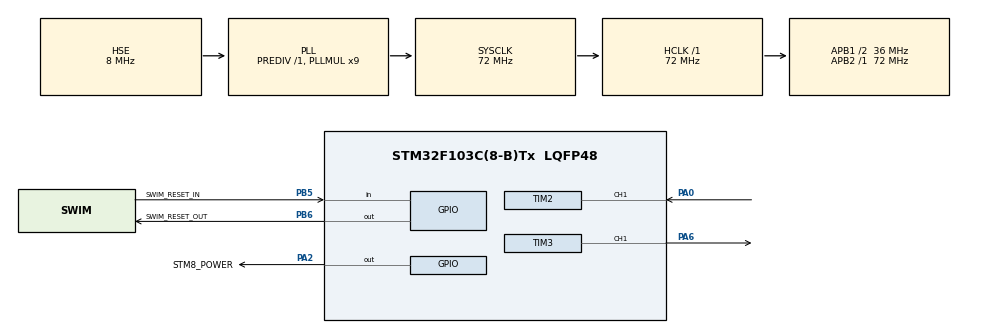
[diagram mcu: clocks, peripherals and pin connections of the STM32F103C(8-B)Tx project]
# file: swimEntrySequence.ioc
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Dma.Request0=TIM2_CH1
Dma.Request1=TIM2_CH2/CH4
Dma.Request2=TIM3_CH1/TRIG
Dma.TIM2_CH1.0.Direction=DMA_PERIPH_TO_MEMORY
Dma.TIM2_CH1.0.Instance=DMA1_Channel5
Dma.TIM2_CH1.0.MemDataAlignment=DMA_MDATAALIGN_WORD
Dma.TIM2_CH1.0.MemInc=DMA_MINC_ENABLE
Dma.TIM2_CH1.0.Mode=DMA_NORMAL
Dma.TIM2_CH1.0.PeriphDataAlignment=DMA_PDATAALIGN_HALFWORD
Dma.TIM2_CH1.0.PeriphInc=DMA_PINC_DISABLE
Dma.TIM2_CH1.0.Priority=DMA_PRIORITY_HIGH
Dma.TIM2_CH2/CH4.1.Direction=DMA_PERIPH_TO_MEMORY
Dma.TIM2_CH2/CH4.1.Instance=DMA1_Channel7
Dma.TIM2_CH2/CH4.1.MemDataAlignment=DMA_MDATAALIGN_WORD
Dma.TIM2_CH2/CH4.1.MemInc=DMA_MINC_ENABLE
Dma.TIM2_CH2/CH4.1.Mode=DMA_NORMAL
Dma.TIM2_CH2/CH4.1.PeriphDataAlignment=DMA_PDATAALIGN_HALFWORD
Dma.TIM2_CH2/CH4.1.PeriphInc=DMA_PINC_DISABLE
Dma.TIM2_CH2/CH4.1.Priority=DMA_PRIORITY_HIGH
Dma.TIM3_CH1/TRIG.2.Direction=DMA_MEMORY_TO_PERIPH
Dma.TIM3_CH1/TRIG.2.Instance=DMA1_Channel6
Dma.TIM3_CH1/TRIG.2.MemDataAlignment=DMA_MDATAALIGN_WORD
Dma.TIM3_CH1/TRIG.2.MemInc=DMA_MINC_ENABLE
Dma.TIM3_CH1/TRIG.2.Mode=DMA_NORMAL
Dma.TIM3_CH1/TRIG.2.PeriphDataAlignment=DMA_PDATAALIGN_HALFWORD
Dma.TIM3_CH1/TRIG.2.PeriphInc=DMA_PINC_DISABLE
Dma.TIM3_CH1/TRIG.2.Priority=DMA_PRIORITY_HIGH
Mcu.Family=STM32F1
Mcu.Name=STM32F103C(8-B)Tx
Mcu.Package=LQFP48
Mcu.UserConstants=longPeriod,0xFFFF;timeUp_period,65000-1
NVIC.DMA1_Channel5_IRQn=true\:0\:0\:false\:false\:true
NVIC.DMA1_Channel6_IRQn=true\:0\:0\:false\:false\:true
NVIC.DMA1_Channel7_IRQn=true\:0\:0\:false\:false\:true
NVIC.PriorityGroup=NVIC_PRIORITYGROUP_4
NVIC.TIM1_UP_IRQn=true\:0\:0\:false\:false\:true
PA0-WKUP.Signal=S_TIM2_CH1_ETR
PA13.Mode=Serial_Wire
PA13.Signal=SYS_JTMS-SWDIO
PA14.Mode=Serial_Wire
PA14.Signal=SYS_JTCK-SWCLK
PA2.GPIO_Label=STM8_POWER
PA2.GPIO_Speed=GPIO_SPEED_FREQ_HIGH
PA2.PinState=GPIO_PIN_RESET
PA2.Signal=GPIO_Output
PA6.GPIO_ModeDefaultPP=GPIO_MODE_AF_OD
PA6.GPIO_Speed=GPIO_SPEED_FREQ_HIGH
PA6.Signal=S_TIM3_CH1
PB5.GPIO_Label=SWIM_RESET_IN
PB5.Signal=GPIO_Input
PB6.GPIO_Label=SWIM_RESET_OUT
PB6.GPIO_Speed=GPIO_SPEED_FREQ_HIGH
PB6.PinState=GPIO_PIN_SET
PB6.Signal=GPIO_Output
PD0-OSC_IN.Mode=HSE-External-Oscillator
PD0-OSC_IN.Signal=RCC_OSC_IN
PD1-OSC_OUT.Mode=HSE-External-Oscillator
PD1-OSC_OUT.Signal=RCC_OSC_OUT
ProjectManager.HeapSize=0x200
ProjectManager.StackSize=0x400
ProjectManager.TargetToolchain=SW4STM32
RCC.AHBFreq_Value=72000000
RCC.APB1CLKDivider=RCC_HCLK_DIV2
RCC.APB1Freq_Value=36000000
RCC.APB1TimFreq_Value=72000000
RCC.APB2Freq_Value=72000000
RCC.APB2TimFreq_Value=72000000
RCC.HCLKFreq_Value=72000000
RCC.PLLMUL=RCC_PLL_MUL9
RCC.PLLSourceVirtual=RCC_PLLSOURCE_HSE
RCC.SYSCLKFreq_VALUE=72000000
RCC.SYSCLKSource=RCC_SYSCLKSOURCE_PLLCLK
RCC.USBFreq_Value=72000000
SH.S_TIM2_CH1_ETR.0=TIM2_CH1,TriggerSource_TI1FP1
SH.S_TIM2_CH1_ETR.1=TIM2_CH1,Input_Capture1_from_TI1
SH.S_TIM2_CH1_ETR.2=TIM2_CH1,Input_Capture2_from_TI1
SH.S_TIM3_CH1.0=TIM3_CH1,Output Compare1 CH1
TIM1.Period=timeUp_period
TIM1.Prescaler=10
TIM2.Channel-Input_Capture1_from_TI1=TIM_CHANNEL_1
TIM2.Channel-Input_Capture2_from_TI1=TIM_CHANNEL_2
TIM2.ICPolarity_CH1=TIM_INPUTCHANNELPOLARITY_FALLING
TIM2.Period=longPeriod
TIM3.Channel-Output\ Compare1\ CH1=TIM_CHANNEL_1
TIM3.OCMode_1=TIM_OCMODE_TOGGLE
TIM3.OCPolarity_1=TIM_OCPOLARITY_LOW
TIM3.TIM_MasterOutputTrigger=TIM_TRGO_OC1
VP_TIM1_VS_ClockSourceINT.Mode=Internal
VP_TIM2_VS_ControllerModeReset.Mode=Reset Mode
board=swimEntrySequence

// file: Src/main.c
/**
  ******************************************************************************
  * File Name          : main.c
  * Description        : Main program body
  ******************************************************************************
  ** This notice applies to any and all portions of this file
  * that are not between comment pairs USER CODE BEGIN and
  * USER CODE END. Other portions of this file, whether
  * inserted by the user or by software development tools
  * are owned by their respective copyright owners.
  *
  * COPYRIGHT(c) 2017 STMicroelectronics
  *
  * Redistribution and use in source and binary forms, with or without modification,
  * are permitted provided that the following conditions are met:
  *   1. Redistributions of source code must retain the above copyright notice,
  *      this list of conditions and the following disclaimer.
  *   2. Redistributions in binary form must reproduce the above copyright notice,
  *      this list of conditions and the following disclaimer in the documentation
  *      and/or other materials provided with the distribution.
  *   3. Neither the name of STMicroelectronics nor the names of its contributors
  *      may be used to endorse or promote products derived from this software
  *      without specific prior written permission.
  *
  * THIS SOFTWARE IS PROVIDED BY THE COPYRIGHT HOLDERS AND CONTRIBUTORS "AS IS"
  * AND ANY EXPRESS OR IMPLIED WARRANTIES, INCLUDING, BUT NOT LIMITED TO, THE
  * IMPLIED WARRANTIES OF MERCHANTABILITY AND FITNESS FOR A PARTICULAR PURPOSE ARE
  * DISCLAIMED. IN NO EVENT SHALL THE COPYRIGHT HOLDER OR CONTRIBUTORS BE LIABLE
  * FOR ANY DIRECT, INDIRECT, INCIDENTAL, SPECIAL, EXEMPLARY, OR CONSEQUENTIAL
  * DAMAGES (INCLUDING, BUT NOT LIMITED TO, PROCUREMENT OF SUBSTITUTE GOODS OR
  * SERVICES; LOSS OF USE, DATA, OR PROFITS; OR BUSINESS INTERRUPTION) HOWEVER
  * CAUSED AND ON ANY THEORY OF LIABILITY, WHETHER IN CONTRACT, STRICT LIABILITY,
  * OR TORT (INCLUDING NEGLIGENCE OR OTHERWISE) ARISING IN ANY WAY OUT OF THE USE
  * OF THIS SOFTWARE, EVEN IF ADVISED OF THE POSSIBILITY OF SUCH DAMAGE.
  *
  ******************************************************************************
  */
#include "main.h"
#include "stm32f1xx_hal.h"

/* USER CODE BEGIN Includes */
#include "hardwareInterface.h"
#include "swim.h"
/* USER CODE END Includes */

TIM_HandleTypeDef htim1;
TIM_HandleTypeDef htim2;
TIM_HandleTypeDef htim3;
DMA_HandleTypeDef hdma_tim2_ch1;
DMA_HandleTypeDef hdma_tim2_ch2_ch4;
DMA_HandleTypeDef hdma_tim3_ch1_trig;

/* USER CODE BEGIN PV */
/* Private variables ---------------------------------------------------------*/

TIM_OC_InitTypeDef sConfig;
TIM_IC_InitTypeDef sICConfig;

//#define OC_bufferSize	18
//#define IC_bufferSize 	10
//uint32_t forcedLow_buffer[OC_bufferSize] = {0,0,0,0};
//uint32_t icBuffer[IC_bufferSize] = {};
uint16_t bufferCount = 0;
uint16_t testing = 0;

/* USER CODE END PV */

void SystemClock_Config(void);
static void MX_GPIO_Init(void);
static void MX_DMA_Init(void);
static void MX_TIM2_Init(void);
static void MX_TIM3_Init(void);
static void MX_TIM1_Init(void);

void HAL_TIM_MspPostInit(TIM_HandleTypeDef *htim);

/* USER CODE BEGIN PFP */
/* Private function prototypes -----------------------------------------------*/
//uint16_t getOCR(uint16_t arr, uint16_t currentOCR, uint16_t period_us);
//void configure_entry_sequence();
//void configureAndStart_OC_DMA(uint16_t period,  uint32_t *array,  uint16_t size);

//void setTimeout(uint16_t period_us);
/* USER CODE END PFP */

/* USER CODE BEGIN 0 */
#define period_600us (uint16_t)(43200 - 1)
#define period_500us (uint16_t)((72000000/(1000 * 2)) - 1)
#define period_250us (uint16_t)((72000000/(2000 * 2)) - 1)
#define period_16us  (uint16_t)((72000000/62500 ) - 1)
extern uint16_t count;
extern uint32_t icBuffer[10];
extern uint32_t forcedLow_buffer[18];
extern Swim swim;
/* USER CODE END 0 */

int main(void)
{

  /* USER CODE BEGIN 1 */
//  #define period_500us (uint16_t)((SystemCoreClock/(1000 * 2)) - 1)
//  #define period_250us (uint16_t)((SystemCoreClock/(2000 * 2)) - 1)

  /* USER CODE END 1 */

  /* MCU Configuration----------------------------------------------------------*/

  /* Reset of all peripherals, Initializes the Flash interface and the Systick. */
  HAL_Init();

  /* USER CODE BEGIN Init */
  swim.currState = SWIM_START;
  /* USER CODE END Init */

  /* Configure the system clock */
  SystemClock_Config();

  /* Initialize all configured peripherals */
  MX_GPIO_Init();
  MX_DMA_Init();
  MX_TIM2_Init();
  MX_TIM3_Init();
  MX_TIM1_Init();

  /* USER CODE BEGIN 2 */

//  HAL_GPIO_WritePin(STM8_POWER_GPIO_Port, STM8_POWER_Pin, GPIO_PIN_SET);
//  HAL_GPIO_WritePin(STM8_POWER_GPIO_Port, STM8_POWER_Pin, GPIO_PIN_RESET);
//
//
  HAL_GPIO_WritePin(SWIM_RESET_OUT_GPIO_Port, SWIM_RESET_OUT_Pin, GPIO_PIN_RESET);
  HAL_Delay(1);
  swimSmHandler(&swim, 0);
//  swim_send_header(SWIM_WOTF);
////
//
//
//  forcedLow_buffer[0]  = period_16us * 1;
//  for(int i = 1; i < 9; i++)
//  {
//	  forcedLow_buffer[i] =  getOCR(period_600us, forcedLow_buffer[i-1], period_500us);
//  }
//
//  for(int i = 0; i < 8; i++)
//  {
//	  forcedLow_buffer[i+9] =  getOCR(period_600us, forcedLow_buffer[i+9-1], period_250us);
//  }
//
//  forcedLow_buffer[17] = period_600us+1;

//  configure_entry_sequence();
//  configureAndStart_OC_DMA(period_600us, forcedLow_buffer, 18);
 /* startSwimEntrySequence();
  setTimeout(6670);
  swim.currState = SWIM_LISTEN_SYNCHRONIZATION;

  if (HAL_TIM_IC_Start_DMA(&htim2, TIM_CHANNEL_2, icBuffer, 10) != HAL_OK)
  {
	Error_Handler();
  }

  HAL_GPIO_WritePin(SWIM_RESET_OUT_GPIO_Port, SWIM_RESET_OUT_Pin, GPIO_PIN_RESET);

*/
  /* USER CODE END 2 */

  /* Infinite loop */
  while (1)
  {

  }

}

/** System Clock Configuration
*/
void SystemClock_Config(void)
{

  RCC_OscInitTypeDef RCC_OscInitStruct;
  RCC_ClkInitTypeDef RCC_ClkInitStruct;

    /**Initializes the CPU, AHB and APB busses clocks
    */
  RCC_OscInitStruct.OscillatorType = RCC_OSCILLATORTYPE_HSE;
  RCC_OscInitStruct.HSEState = RCC_HSE_ON;
  RCC_OscInitStruct.HSEPredivValue = RCC_HSE_PREDIV_DIV1;
  RCC_OscInitStruct.HSIState = RCC_HSI_ON;
  RCC_OscInitStruct.PLL.PLLState = RCC_PLL_ON;
  RCC_OscInitStruct.PLL.PLLSource = RCC_PLLSOURCE_HSE;
  RCC_OscInitStruct.PLL.PLLMUL = RCC_PLL_MUL9;
  if (HAL_RCC_OscConfig(&RCC_OscInitStruct) != HAL_OK)
  {
    _Error_Handler(__FILE__, __LINE__);
  }

    /**Initializes the CPU, AHB and APB busses clocks
    */
  RCC_ClkInitStruct.ClockType = RCC_CLOCKTYPE_HCLK|RCC_CLOCKTYPE_SYSCLK
                              |RCC_CLOCKTYPE_PCLK1|RCC_CLOCKTYPE_PCLK2;
  RCC_ClkInitStruct.SYSCLKSource = RCC_SYSCLKSOURCE_PLLCLK;
  RCC_ClkInitStruct.AHBCLKDivider = RCC_SYSCLK_DIV1;
  RCC_ClkInitStruct.APB1CLKDivider = RCC_HCLK_DIV2;
  RCC_ClkInitStruct.APB2CLKDivider = RCC_HCLK_DIV1;

  if (HAL_RCC_ClockConfig(&RCC_ClkInitStruct, FLASH_LATENCY_2) != HAL_OK)
  {
    _Error_Handler(__FILE__, __LINE__);
  }

    /**Configure the Systick interrupt time
    */
  HAL_SYSTICK_Config(HAL_RCC_GetHCLKFreq()/1000);

    /**Configure the Systick
    */
  HAL_SYSTICK_CLKSourceConfig(SYSTICK_CLKSOURCE_HCLK);

  /* SysTick_IRQn interrupt configuration */
  HAL_NVIC_SetPriority(SysTick_IRQn, 0, 0);
}

/* TIM1 init function */
static void MX_TIM1_Init(void)
{

  TIM_ClockConfigTypeDef sClockSourceConfig;
  TIM_MasterConfigTypeDef sMasterConfig;

  htim1.Instance = TIM1;
  htim1.Init.Prescaler = 10;
  htim1.Init.CounterMode = TIM_COUNTERMODE_UP;
  htim1.Init.Period = timeUp_period;
  htim1.Init.ClockDivision = TIM_CLOCKDIVISION_DIV1;
  htim1.Init.RepetitionCounter = 0;
  if (HAL_TIM_Base_Init(&htim1) != HAL_OK)
  {
    _Error_Handler(__FILE__, __LINE__);
  }

  sClockSourceConfig.ClockSource = TIM_CLOCKSOURCE_INTERNAL;
  if (HAL_TIM_ConfigClockSource(&htim1, &sClockSourceConfig) != HAL_OK)
  {
    _Error_Handler(__FILE__, __LINE__);
  }

  sMasterConfig.MasterOutputTrigger = TIM_TRGO_RESET;
  sMasterConfig.MasterSlaveMode = TIM_MASTERSLAVEMODE_DISABLE;
  if (HAL_TIMEx_MasterConfigSynchronization(&htim1, &sMasterConfig) != HAL_OK)
  {
    _Error_Handler(__FILE__, __LINE__);
  }

}

/* TIM2 init function */
static void MX_TIM2_Init(void)
{

  TIM_SlaveConfigTypeDef sSlaveConfig;
  TIM_MasterConfigTypeDef sMasterConfig;
  TIM_IC_InitTypeDef sConfigIC;

  htim2.Instance = TIM2;
  htim2.Init.Prescaler = 0;
  htim2.Init.CounterMode = TIM_COUNTERMODE_UP;
  htim2.Init.Period = longPeriod;
  htim2.Init.ClockDivision = TIM_CLOCKDIVISION_DIV1;
  if (HAL_TIM_Base_Init(&htim2) != HAL_OK)
  {
    _Error_Handler(__FILE__, __LINE__);
  }

  if (HAL_TIM_IC_Init(&htim2) != HAL_OK)
  {
    _Error_Handler(__FILE__, __LINE__);
  }

  sSlaveConfig.SlaveMode = TIM_SLAVEMODE_RESET;
  sSlaveConfig.InputTrigger = TIM_TS_TI1FP1;
  sSlaveConfig.TriggerPolarity = TIM_INPUTCHANNELPOLARITY_FALLING;
  sSlaveConfig.TriggerFilter = 0;
  if (HAL_TIM_SlaveConfigSynchronization(&htim2, &sSlaveConfig) != HAL_OK)
  {
    _Error_Handler(__FILE__, __LINE__);
  }

  sMasterConfig.MasterOutputTrigger = TIM_TRGO_RESET;
  sMasterConfig.MasterSlaveMode = TIM_MASTERSLAVEMODE_DISABLE;
  if (HAL_TIMEx_MasterConfigSynchronization(&htim2, &sMasterConfig) != HAL_OK)
  {
    _Error_Handler(__FILE__, __LINE__);
  }

  sConfigIC.ICPolarity = TIM_INPUTCHANNELPOLARITY_FALLING;
  sConfigIC.ICSelection = TIM_ICSELECTION_DIRECTTI;
  sConfigIC.ICPrescaler = TIM_ICPSC_DIV1;
  sConfigIC.ICFilter = 0;
  if (HAL_TIM_IC_ConfigChannel(&htim2, &sConfigIC, TIM_CHANNEL_1) != HAL_OK)
  {
    _Error_Handler(__FILE__, __LINE__);
  }

  sConfigIC.ICPolarity = TIM_INPUTCHANNELPOLARITY_RISING;
  sConfigIC.ICSelection = TIM_ICSELECTION_INDIRECTTI;
  if (HAL_TIM_IC_ConfigChannel(&htim2, &sConfigIC, TIM_CHANNEL_2) != HAL_OK)
  {
    _Error_Handler(__FILE__, __LINE__);
  }

}

/* TIM3 init function */
static void MX_TIM3_Init(void)
{

  TIM_MasterConfigTypeDef sMasterConfig;
  TIM_OC_InitTypeDef sConfigOC;

  htim3.Instance = TIM3;
  htim3.Init.Prescaler = 0;
  htim3.Init.CounterMode = TIM_COUNTERMODE_UP;
  htim3.Init.Period = 0;
  htim3.Init.ClockDivision = TIM_CLOCKDIVISION_DIV1;
  if (HAL_TIM_OC_Init(&htim3) != HAL_OK)
  {
    _Error_Handler(__FILE__, __LINE__);
  }

  sMasterConfig.MasterOutputTrigger = TIM_TRGO_OC1;
  sMasterConfig.MasterSlaveMode = TIM_MASTERSLAVEMODE_DISABLE;
  if (HAL_TIMEx_MasterConfigSynchronization(&htim3, &sMasterConfig) != HAL_OK)
  {
    _Error_Handler(__FILE__, __LINE__);
  }

  sConfigOC.OCMode = TIM_OCMODE_TOGGLE;
  sConfigOC.Pulse = 0;
  sConfigOC.OCPolarity = TIM_OCPOLARITY_LOW;
  sConfigOC.OCFastMode = TIM_OCFAST_DISABLE;
  if (HAL_TIM_OC_ConfigChannel(&htim3, &sConfigOC, TIM_CHANNEL_1) != HAL_OK)
  {
    _Error_Handler(__FILE__, __LINE__);
  }

  HAL_TIM_MspPostInit(&htim3);

}

static void MX_DMA_Init(void)
{
  /* DMA controller clock enable */
  __HAL_RCC_DMA1_CLK_ENABLE();

  /* DMA interrupt init */
  /* DMA1_Channel5_IRQn interrupt configuration */
  HAL_NVIC_SetPriority(DMA1_Channel5_IRQn, 0, 0);
  HAL_NVIC_EnableIRQ(DMA1_Channel5_IRQn);
  /* DMA1_Channel6_IRQn interrupt configuration */
  HAL_NVIC_SetPriority(DMA1_Channel6_IRQn, 0, 0);
  HAL_NVIC_EnableIRQ(DMA1_Channel6_IRQn);
  /* DMA1_Channel7_IRQn interrupt configuration */
  HAL_NVIC_SetPriority(DMA1_Channel7_IRQn, 0, 0);
  HAL_NVIC_EnableIRQ(DMA1_Channel7_IRQn);

}

/** Configure pins as
        * Analog
        * Input
        * Output
        * EVENT_OUT
        * EXTI
*/
static void MX_GPIO_Init(void)
{

  GPIO_InitTypeDef GPIO_InitStruct;

  /* GPIO Ports Clock Enable */
  __HAL_RCC_GPIOD_CLK_ENABLE();
  __HAL_RCC_GPIOA_CLK_ENABLE();
  __HAL_RCC_GPIOB_CLK_ENABLE();

  /*Configure GPIO pin Output Level */
  HAL_GPIO_WritePin(STM8_POWER_GPIO_Port, STM8_POWER_Pin, GPIO_PIN_RESET);

  /*Configure GPIO pin Output Level */
  HAL_GPIO_WritePin(SWIM_RESET_OUT_GPIO_Port, SWIM_RESET_OUT_Pin, GPIO_PIN_SET);

  /*Configure GPIO pin : STM8_POWER_Pin */
  GPIO_InitStruct.Pin = STM8_POWER_Pin;
  GPIO_InitStruct.Mode = GPIO_MODE_OUTPUT_PP;
  GPIO_InitStruct.Speed = GPIO_SPEED_FREQ_HIGH;
  HAL_GPIO_Init(STM8_POWER_GPIO_Port, &GPIO_InitStruct);

  /*Configure GPIO pin : SWIM_RESET_IN_Pin */
  GPIO_InitStruct.Pin = SWIM_RESET_IN_Pin;
  GPIO_InitStruct.Mode = GPIO_MODE_INPUT;
  GPIO_InitStruct.Pull = GPIO_NOPULL;
  HAL_GPIO_Init(SWIM_RESET_IN_GPIO_Port, &GPIO_InitStruct);

  /*Configure GPIO pin : SWIM_RESET_OUT_Pin */
  GPIO_InitStruct.Pin = SWIM_RESET_OUT_Pin;
  GPIO_InitStruct.Mode = GPIO_MODE_OUTPUT_PP;
  GPIO_InitStruct.Speed = GPIO_SPEED_FREQ_HIGH;
  HAL_GPIO_Init(SWIM_RESET_OUT_GPIO_Port, &GPIO_InitStruct);

}

/* USER CODE BEGIN 4 */

//void configure_entry_sequence()
//{
//	forcedLow_buffer[0] = period_16us * 1;
//	for(int i = 1; i < 9; i++)
//	{
//	  forcedLow_buffer[i] =  getOCR(period_600us, forcedLow_buffer[i-1], period_500us);
//	}
//
//	for(int i = 0; i < 8; i++)
//	{
//	  forcedLow_buffer[i+9] =  getOCR(period_600us, forcedLow_buffer[i+9-1], period_250us);
//	}
//
//	forcedLow_buffer[17] = period_600us+1;
//}

//void configureAndStart_OC_DMA(uint16_t period,  uint32_t *array,  uint16_t size)
//{
//	htim3.Instance = TIM3;
//	htim3.Init.Period = period;//(period_16us * 16);//period_500us;//0xFFFF;// 14;
//	htim3.Init.RepetitionCounter = 0;
//	htim3.Init.Prescaler = 0;
//	htim3.Init.ClockDivision = 0;
//	htim3.Init.CounterMode = TIM_COUNTERMODE_UP;
//	if (HAL_TIM_OC_Init(&htim3) != HAL_OK)
//	{
//	Error_Handler();
//	}
//
//	sConfig.OCMode = TIM_OCMODE_TOGGLE;
//	sConfig.OCPolarity = TIM_OCPOLARITY_LOW;
//	sConfig.Pulse = 0;// uhTimerPeriod;// 0; //aCCValue_Buffer[0];//0;//aCCValue_Buffer[0];
//	if (HAL_TIM_OC_ConfigChannel(&htim3, &sConfig, TIM_CHANNEL_1) != HAL_OK)
//	{
//	Error_Handler();
//	}
//
//	if (HAL_TIM_OC_Start_DMA(&htim3, TIM_CHANNEL_1, array, size) != HAL_OK)
//	{
//	  Error_Handler();
//	}
//}

void HAL_TIM_IC_CaptureCallback(TIM_HandleTypeDef *htim)
{
	if(htim->Instance == TIM2 && htim->Channel == HAL_TIM_ACTIVE_CHANNEL_2)
	{

		bufferCount++;
		HAL_TIM_Base_Stop_IT(&htim1);
		if( icBuffer[9] >= 1130 && swim.currState == SWIM_LISTEN_SYNCHRONIZATION)
		{
			swim.prevState = SWIM_LISTEN_SYNCHRONIZATION;
			swim.currState = SWIM_ACTIVATION;
//			swim_send_Zero();
			setTimeout(1);
//			setTimeout(2000);
			swim_send_header(SWIM_WOTF);
//			if (HAL_TIM_IC_Start_DMA(&htim2, TIM_CHANNEL_2, icBuffer, 6) != HAL_OK)
////			{
//				Error_Handler();
//			}
		}
		else if(swim.currState == SWIM_LISTEN_ACK)
		{

		}

	}
}

/*
 *  Timer eexpired/Times up
 */
void HAL_TIM_PeriodElapsedCallback(TIM_HandleTypeDef *htim)
{
	if (htim->Instance == TIM1)
	{
		HAL_TIM_Base_Stop_IT(&htim1);
		if(swim.currState == SWIM_LISTEN_SYNCHRONIZATION)
		{
			bufferCount = 1000;
			swim_send_header(SWIM_WOTF);
		}
		else if(swim.currState == SWIM_ACTIVATION)
		{
////			setTimeout(2);
//			setTimeout(3000);
//			swim.currState = SWIM_COMMAND_WOTF;
////			swim_send_Zero();
//			swim_send_header(SWIM_WOTF);
//			if (HAL_TIM_IC_Start_DMA(&htim2, TIM_CHANNEL_2, icBuffer, 6) != HAL_OK)
//			{
//				Error_Handler();
//			}
		}

		else if(swim.currState == SWIM_COMMAND_WOTF)
		{
//			bufferCount = 100;
//			swim.currState = SWIM_COMMAND_WOTF;
////			swim_send_Zero();
//			swim_send_header(SWIM_WOTF);
//			if (HAL_TIM_IC_Start_DMA(&htim2, TIM_CHANNEL_2, icBuffer, 6) != HAL_OK)
//			{
//				Error_Handler();
//			}

		}
//		if (HAL_TIM_OC_Stop_DMA(&htim3, TIM_CHANNEL_1) != HAL_OK)
//		{
//		  Error_Handler();
//		}
	}
}

//void HAL_TIM_PWM_PulseFinishedCallback(TIM_HandleTypeDef *htim)
//{
////	bufferCount++;
//
//	HAL_GPIO_WritePin(STM8_POWER_GPIO_Port, STM8_POWER_Pin, GPIO_PIN_SET);
//	HAL_GPIO_WritePin(STM8_POWER_GPIO_Port, STM8_POWER_Pin, GPIO_PIN_RESET);
//
//	swim_send_header(SWIM_WOTF);
////	if(bufferCount == 2)
////		HAL_TIM_OC_Stop_DMA(&htim3, TIM_CHANNEL_1);
//
//
//}

/* USER CODE END 4 */

void _Error_Handler(char * file, int line)
{
  while(1)
  {
  }
}

/************************ (C) COPYRIGHT STMicroelectronics *****END OF FILE****/
